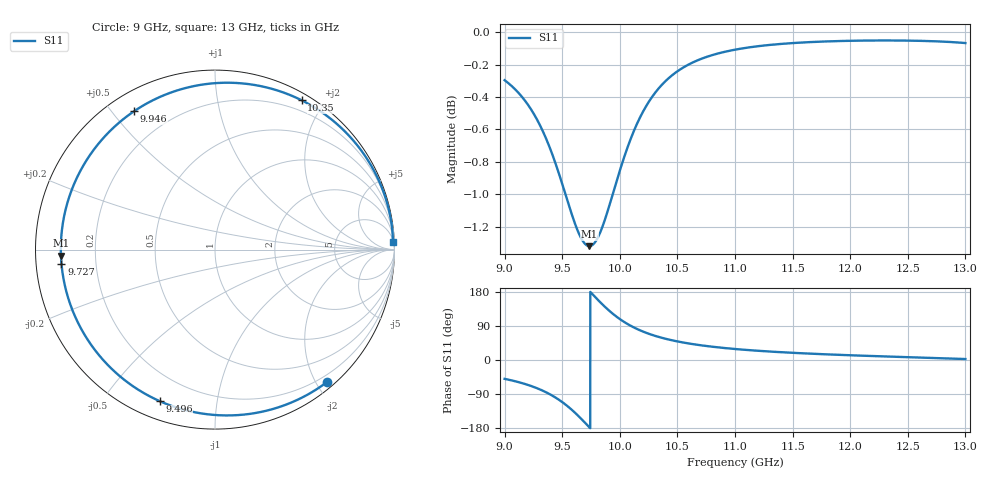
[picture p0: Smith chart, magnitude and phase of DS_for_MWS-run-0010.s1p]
! TOUCHSTONE file generated by CST DESIGN STUDIO
! Date and time: Tue Feb  4 18:11:21 2025
! Project name: C:\Work\MatlabApps\UnitCellOptimizationMatlab\CST\unitcell.cst
! Tree item: Tasks\Sweep1\SPara1\S-Parameters
! Header version: 2024
! Port assignment regex: !\s*Touchstone port\s*([0-9]+)\s*=\s*(CST MWS port|CST DES external port|CST DES block port)\s*(.+)\s* \(\"(.*)\"\)(\s*mode\s*([0-9]+))?.*
! Touchstone port assignment:
! Touchstone port 1 = CST DES external port 1 ("")
# GHz S MA R 50
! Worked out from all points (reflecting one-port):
!   4001 points, 9 GHz to 13 GHz, reference 50 ohm
!   lowest |S11| = -1.3 dB at 9.736 GHz (marker M1), VSWR 13.18, Z = 3.8 - j0.987 ohm
!   phase of S11 starts at -50 deg and turns -308 deg over the sweep
!   S11 on the Smith chart (normalised r, x): 9 GHz: 0.10, -2.16; 9.496 GHz: 0.08, -0.70; 9.727 GHz: 0.08, -0.04; 9.946 GHz: 0.07, +0.57; 10.35 GHz: 0.08, +1.73; 13 GHz: 8, +43
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9  0.9664 -49.7
9.137  0.9563 -59.7
9.264  0.9422 -72.4
9.395  0.9206 -90.7
9.448  0.9096 -100.2
9.496  0.8988 -110.1
9.5  0.8978 -111.0
9.555  0.885 -124.0
9.608  0.8734 -138.3
9.671  0.863 -157.0
9.727  0.859 -174.8
9.736  0.8589 -177.7
9.78  0.8609 168.1
9.827  0.8669 153.3
9.887  0.8789 135.8
9.946  0.893 120.4
10  0.9062 108.0
10.077  0.9234 93.2
10.17  0.9403 79.0
10.256  0.9522 68.7
10.349  0.9619 59.9
10.5  0.9725 49.0
10.718  0.9815 38.2
11  0.9876 29.0
11.5  0.9922 19.0
12  0.9938 12.5
12.5  0.994 7.4
13  0.9922 2.6
